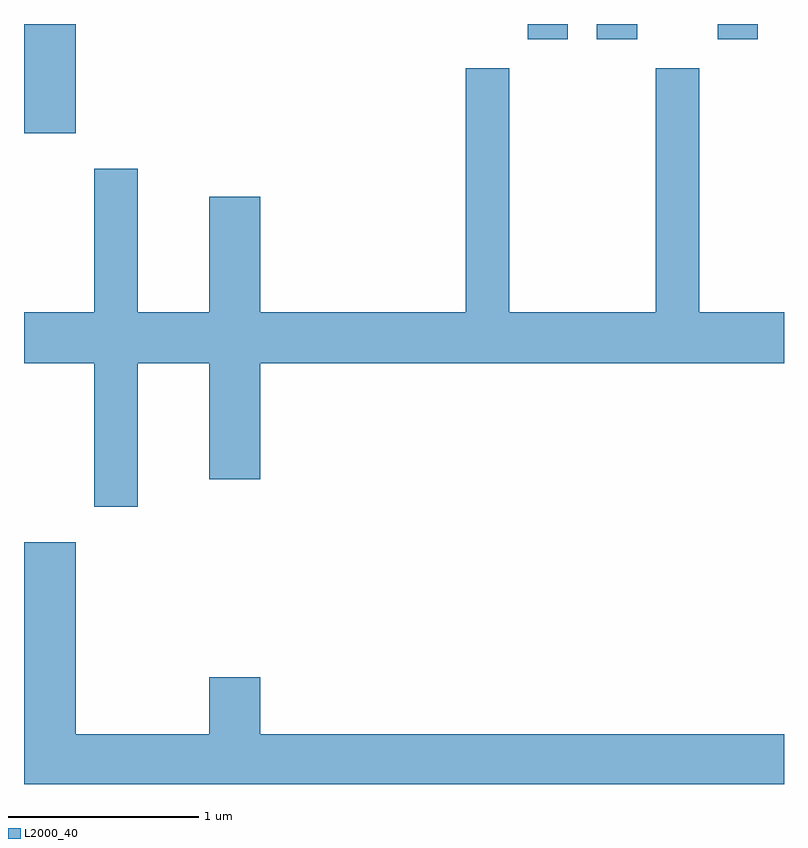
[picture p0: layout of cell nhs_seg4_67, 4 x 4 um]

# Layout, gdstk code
import gdstk
lib = gdstk.Library(unit=1e-6, precision=1e-09)
def R(c, l, rs):  # rectangles x0, y0, x1, y1
    for r in rs: c.add(gdstk.rectangle(r[:2], r[2:], *l))
def P(c, l, *ps):  # polygons
    for p in ps: c.add(gdstk.Polygon(p, *l))
L2000_40 = (2000, 40)

nhs_seg4_67 = lib.new_cell('nhs_seg4_67')
R(nhs_seg4_67, L2000_40, [(185.611,1391.406,185.884,1391.982), (188.261,1391.901,188.474,1391.982), (188.626,1391.901,188.839,1391.982), (189.261,1391.901,189.474,1391.982)])
P(nhs_seg4_67, L2000_40, [(186.209,1390.196),(186.586,1390.196),(186.586,1389.586),(186.854,1389.586),(186.854,1390.196),(189.611,1390.196),(189.611,1390.464),(189.164,1390.464),(189.164,1391.749),(188.936,1391.749),(188.936,1390.464),(188.164,1390.464),(188.164,1391.749),(187.936,1391.749),(187.936,1390.464),(186.854,1390.464),(186.854,1391.074),(186.586,1391.074),(186.586,1390.464),(186.209,1390.464),(186.209,1391.219),(185.981,1391.219),(185.981,1390.464),(185.611,1390.464),(185.611,1390.196),(185.981,1390.196),(185.981,1389.441),(186.209,1389.441)],
  [(189.611,1388.244),(186.854,1388.244),(186.854,1388.544),(186.586,1388.544),(186.586,1388.244),(185.884,1388.244),(185.884,1389.254),(185.611,1389.254),(185.611,1387.982),(189.611,1387.982)])

lib.write_gds('nhs_seg4_67.gds')
